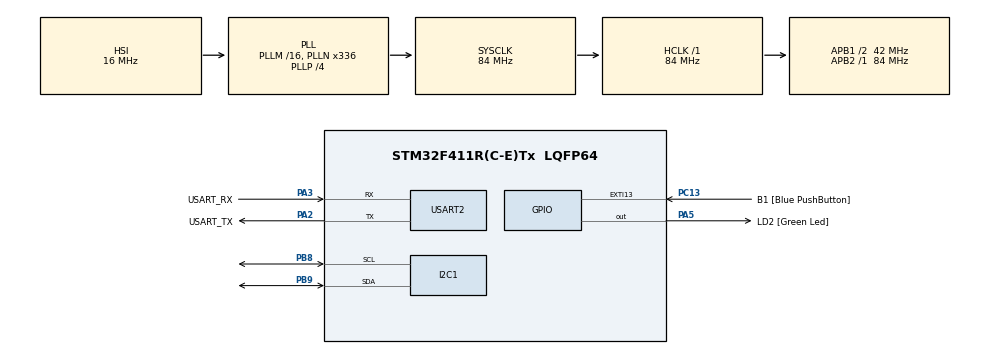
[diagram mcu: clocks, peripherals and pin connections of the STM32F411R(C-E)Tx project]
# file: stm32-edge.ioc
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FREERTOS.Tasks01=defaultTask,24,128,StartDefaultTask,Default,NULL,Dynamic,NULL,NULL
Mcu.Family=STM32F4
Mcu.Name=STM32F411R(C-E)Tx
Mcu.Package=LQFP64
NVIC.PriorityGroup=NVIC_PRIORITYGROUP_4
NVIC.TIM1_UP_TIM10_IRQn=true\:15\:0\:false\:false\:true\:false\:false\:true\:true
NVIC.TimeBase=TIM1_UP_TIM10_IRQn
NVIC.TimeBaseIP=TIM10
PA13.GPIO_Label=TMS
PA13.Mode=Serial_Wire
PA13.Signal=SYS_JTMS-SWDIO
PA14.GPIO_Label=TCK
PA14.Mode=Serial_Wire
PA14.Signal=SYS_JTCK-SWCLK
PA2.GPIO_Label=USART_TX
PA2.Mode=Asynchronous
PA2.Signal=USART2_TX
PA3.GPIO_Label=USART_RX
PA3.Mode=Asynchronous
PA3.Signal=USART2_RX
PA5.GPIO_Label=LD2 [Green Led]
PA5.Signal=GPIO_Output
PB3.GPIO_Label=SWO
PB3.Signal=SYS_JTDO-SWO
PB8.Mode=I2C
PB8.Signal=I2C1_SCL
PB9.Mode=I2C
PB9.Signal=I2C1_SDA
PC13-ANTI_TAMP.GPIO_Label=B1 [Blue PushButton]
PC13-ANTI_TAMP.GPIO_ModeDefaultEXTI=GPIO_MODE_IT_FALLING
PC13-ANTI_TAMP.Signal=GPXTI13
PC14-OSC32_IN.Mode=LSE-External-Oscillator
PC14-OSC32_IN.Signal=RCC_OSC32_IN
PC15-OSC32_OUT.Mode=LSE-External-Oscillator
PC15-OSC32_OUT.Signal=RCC_OSC32_OUT
PH0\ -\ OSC_IN.Mode=HSE-External-Clock-Source
PH0\ -\ OSC_IN.Signal=RCC_OSC_IN
PH1\ -\ OSC_OUT.Mode=HSE-External-Clock-Source
PH1\ -\ OSC_OUT.Signal=RCC_OSC_OUT
ProjectManager.HeapSize=0x200
ProjectManager.StackSize=0x400
ProjectManager.TargetToolchain=STM32CubeIDE
RCC.48MHZClocksFreq_Value=84000000
RCC.AHBFreq_Value=84000000
RCC.APB1CLKDivider=RCC_HCLK_DIV2
RCC.APB1Freq_Value=42000000
RCC.APB1TimFreq_Value=84000000
RCC.APB2Freq_Value=84000000
RCC.APB2TimFreq_Value=84000000
RCC.CortexFreq_Value=84000000
RCC.FLatency-AdvancedSettings=FLASH_LATENCY_2
RCC.HCLKFreq_Value=84000000
RCC.HSE_VALUE=8000000
RCC.HSI_VALUE=16000000
RCC.PLLN=336
RCC.PLLP=RCC_PLLP_DIV4
RCC.SYSCLKFreq_VALUE=84000000
RCC.SYSCLKSource=RCC_SYSCLKSOURCE_PLLCLK
RCC.VCOOutputFreq_Value=336000000
USART2.VirtualMode=VM_ASYNC
VP_FREERTOS_VS_CMSIS_V2.Mode=CMSIS_V2
VP_SYS_VS_tim10.Mode=TIM10
board=NUCLEO-F411RE

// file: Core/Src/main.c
/* USER CODE BEGIN Header */
/**
  ******************************************************************************
  * @file           : main.c
  * @brief          : Main program body
  ******************************************************************************
  * @attention
  *
  * Copyright (c) 2026 STMicroelectronics.
  * All rights reserved.
  *
  * This software is licensed under terms that can be found in the LICENSE file
  * in the root directory of this software component.
  * If no LICENSE file comes with this software, it is provided AS-IS.
  *
  ******************************************************************************
  */
/* USER CODE END Header */
#include "main.h"
#include "cmsis_os.h"
#include "i2c.h"
#include "usart.h"
#include "gpio.h"

/* USER CODE BEGIN Includes */
#include <stdio.h>
#include "dwt.h"
#include "i2c_scan.h"
#include "mpu6050.h"
#include "ae_bench.h"
#include "collect.h"
/* USER CODE END Includes */

void SystemClock_Config(void);
void MX_FREERTOS_Init(void);

/* USER CODE BEGIN 0 */

/* printf retarget*/
int __io_putchar(int ch)
{
  uint8_t c = (uint8_t)ch;
  HAL_UART_Transmit(&huart2, &c, 1, HAL_MAX_DELAY);
  return ch;
}

/* USER CODE END 0 */

int main(void)
{

  /* MCU Configuration--------------------------------------------------------*/

  /* Reset of all peripherals, Initializes the Flash interface and the Systick. */
  HAL_Init();

  /* Configure the system clock */
  SystemClock_Config();

  /* Initialize all configured peripherals */
  MX_GPIO_Init();
  MX_USART2_UART_Init();
  MX_I2C1_Init();
  /* USER CODE BEGIN 2 */

  /*stdio buffering stop*/
  setvbuf(stdout, NULL, _IONBF, 0);

  /* B1은 **여기서** 본다. 브링업 뒤에 보면 사용자가 6초 넘게 버튼을 누르고 있어야
   * 하고, 그건 "리셋하면서 잠깐 누른다"는 조작과 안 맞는다(2026-08-08에 실제로
   * 이것 때문에 수집 모드 진입에 실패했다). 여기서 걸어 잠그고 결과만 들고 간다. */
  const bool want_collect = collect_requested();

  printf("\r\n=== stm32-edge W2 bringup ===\r\n");
  if (want_collect)
  {
    printf("[BOOT] B1 눌림 감지 - 브링업이 끝나면 수집 모드로 들어갑니다.\r\n");
    printf("[BOOT] 버튼에서 손 떼셔도 됩니다.\r\n");
  }
  printf("SystemCoreClock : %lu Hz\r\n", (unsigned long)SystemCoreClock);
  printf("HAL tick        : TIM10 (SysTick은 FreeRTOS 소유)\r\n");
  printf("DWT 32bit wrap  : %lu ms\r\n",
         (unsigned long)(0xFFFFFFFFul / (SystemCoreClock / 1000ul)));

  /* DWT 자가검증 - 스케줄러 시작 전에. 태스크가 없어야 순수한 바닥값이 나온다. */
  if (!dwt_init())
  {
    printf("DWT init        : FAIL (사이클 카운터 미지원)\r\n");
  }
  else
  {
    (void)dwt_selftest();
  }

  /* I2C 브링업 1단계 - 배선 문제와 소프트웨어 문제를 여기서 가른다.
   * 주소가 뜨면 전원/GND/SDA/SCL이 전부 맞은 것. */
  (void)i2c_bus_scan(&hi2c1);

  /* I2C 브링업 2~5단계: WHO_AM_I -> sleep 해제 -> 값 확인 -> 100Hz 스트림 검증 */
  (void)mpu6050_bringup(&hi2c1);

  /* B1을 누른 채 부팅했으면 수집 모드로 빠진다 (돌아오지 않는다).
   * mpu6050_bringup() 뒤에 두는 이유: 레인지·DLPF 설정을 거친 뒤여야
   * 학습 데이터가 추론과 같은 센서 설정에서 나온 것이 된다. */
  if (want_collect)
  {
    collect_run(&hi2c1);
  }

  /* 브링업 6~7단계: 추론 자가검증(보드 == PC) + float32/int8 커널 사이클.
   * 스케줄러 전에 해야 태스크 선점 없이 커널 자체의 비용이 나온다. */
  (void)ae_bench();

  /* USER CODE END 2 */

  /* Init scheduler */
  osKernelInitialize();

  /* Call init function for freertos objects (in cmsis_os2.c) */
  MX_FREERTOS_Init();

  /* Start scheduler */
  osKernelStart();

  /* We should never get here as control is now taken by the scheduler */

  /* Infinite loop */
  while (1)
  {

  }
}

void SystemClock_Config(void)
{
  RCC_OscInitTypeDef RCC_OscInitStruct = {0};
  RCC_ClkInitTypeDef RCC_ClkInitStruct = {0};

  /** Configure the main internal regulator output voltage
  */
  __HAL_RCC_PWR_CLK_ENABLE();
  __HAL_PWR_VOLTAGESCALING_CONFIG(PWR_REGULATOR_VOLTAGE_SCALE1);

  /** Initializes the RCC Oscillators according to the specified parameters
  * in the RCC_OscInitTypeDef structure.
  */
  RCC_OscInitStruct.OscillatorType = RCC_OSCILLATORTYPE_HSI;
  RCC_OscInitStruct.HSIState = RCC_HSI_ON;
  RCC_OscInitStruct.HSICalibrationValue = RCC_HSICALIBRATION_DEFAULT;
  RCC_OscInitStruct.PLL.PLLState = RCC_PLL_ON;
  RCC_OscInitStruct.PLL.PLLSource = RCC_PLLSOURCE_HSI;
  RCC_OscInitStruct.PLL.PLLM = 16;
  RCC_OscInitStruct.PLL.PLLN = 336;
  RCC_OscInitStruct.PLL.PLLP = RCC_PLLP_DIV4;
  RCC_OscInitStruct.PLL.PLLQ = 4;
  if (HAL_RCC_OscConfig(&RCC_OscInitStruct) != HAL_OK)
  {
    Error_Handler();
  }

  /** Initializes the CPU, AHB and APB buses clocks
  */
  RCC_ClkInitStruct.ClockType = RCC_CLOCKTYPE_HCLK|RCC_CLOCKTYPE_SYSCLK
                              |RCC_CLOCKTYPE_PCLK1|RCC_CLOCKTYPE_PCLK2;
  RCC_ClkInitStruct.SYSCLKSource = RCC_SYSCLKSOURCE_PLLCLK;
  RCC_ClkInitStruct.AHBCLKDivider = RCC_SYSCLK_DIV1;
  RCC_ClkInitStruct.APB1CLKDivider = RCC_HCLK_DIV2;
  RCC_ClkInitStruct.APB2CLKDivider = RCC_HCLK_DIV1;

  if (HAL_RCC_ClockConfig(&RCC_ClkInitStruct, FLASH_LATENCY_2) != HAL_OK)
  {
    Error_Handler();
  }
}

void HAL_TIM_PeriodElapsedCallback(TIM_HandleTypeDef *htim)
{
  if (htim->Instance == TIM10) {
    HAL_IncTick();
  }
}

void Error_Handler(void)
{
  __disable_irq();
  while (1)
  {
  }
}

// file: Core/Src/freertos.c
/* USER CODE BEGIN Header */
/**
  ******************************************************************************
  * File Name          : freertos.c
  * Description        : Code for freertos applications
  ******************************************************************************
  * @attention
  *
  * Copyright (c) 2026 STMicroelectronics.
  * All rights reserved.
  *
  * This software is licensed under terms that can be found in the LICENSE file
  * in the root directory of this software component.
  * If no LICENSE file comes with this software, it is provided AS-IS.
  *
  ******************************************************************************
  */
/* USER CODE END Header */

#include "FreeRTOS.h"
#include "task.h"
#include "main.h"
#include "cmsis_os.h"

/* USER CODE BEGIN Includes */
#include "app_tasks.h"
/* USER CODE END Includes */

/* Definitions for defaultTask */
osThreadId_t defaultTaskHandle;
const osThreadAttr_t defaultTask_attributes = {
  .name = "defaultTask",
  .stack_size = 128 * 4,
  .priority = (osPriority_t) osPriorityNormal,
};

void StartDefaultTask(void *argument);

void MX_FREERTOS_Init(void); /* (MISRA C 2004 rule 8.1) */

void MX_FREERTOS_Init(void) {

  /* Create the thread(s) */
  /* creation of defaultTask */
  defaultTaskHandle = osThreadNew(StartDefaultTask, NULL, &defaultTask_attributes);

  /* USER CODE BEGIN RTOS_THREADS */
  app_tasks_init();   /* W2 4태스크 골격 - app_tasks.c */
  /* USER CODE END RTOS_THREADS */

}

void StartDefaultTask(void *argument)
{
  /* USER CODE BEGIN StartDefaultTask */
  /* CubeMX 생성 태스크는 안 쓴다 - 실제 태스크는 app_tasks.c의 4개.
   * (생성 자체를 막으려면 .ioc를 고쳐야 해서, 여기서 즉시 종료로 처리) */
  osThreadExit();
  /* USER CODE END StartDefaultTask */
}
